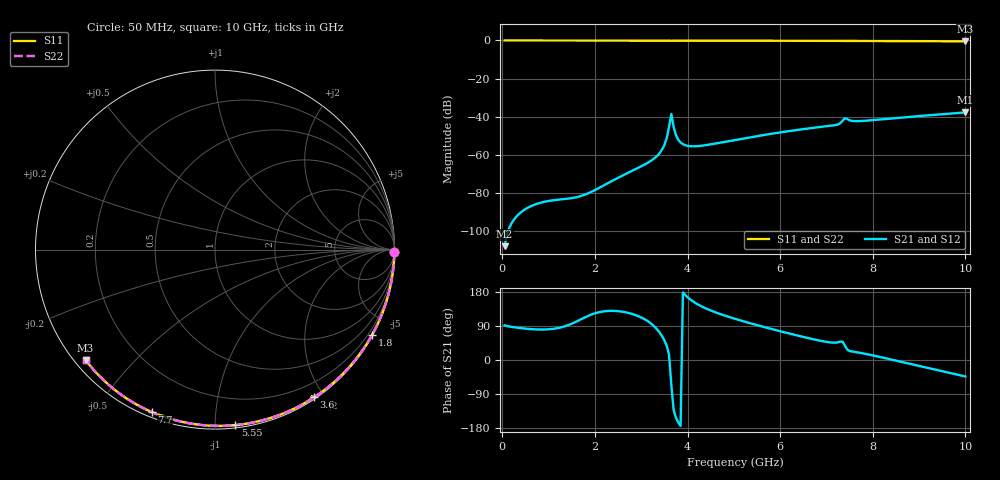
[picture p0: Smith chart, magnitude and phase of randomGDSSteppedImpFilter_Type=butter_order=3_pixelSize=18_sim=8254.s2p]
! freq	dB(S11)	phase(S11)	dB(S12)	phase(S12)
!  dB(S21)	phase(S21)	dB(S22)	phase(S22)
!S-par simulation data
#  GHz  S  DB  R 50
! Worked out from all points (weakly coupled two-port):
!   200 points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, 50 MHz to 10 GHz, reference 50 ohm
!   highest |S21| = -37.81 dB at 10 GHz (marker M1); lowest = -108.0 dB at 50 MHz (marker M2)
!   lowest |S11| = -0.5 dB at 10 GHz (marker M3), VSWR 37.02, Z = 1.53 - j18.4 ohm
!   |S11| at or under -10 dB: nowhere
!   |S22| runs from -0.5 to 0.0 dB; largest |S21 - S12| = 0
!   S11 on the Smith chart (normalised r, x): 50 MHz: open; 1.8 GHz: 0.03, -3.92; 3.6 GHz: 0.03, -1.87; 5.55 GHz: 0.02, -1.12; 7.7 GHz: 0.02, -0.68; 10 GHz: 0.03, -0.37
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0.05  -0.00 -0.8  -108.01 91.5  -108.01 91.5  -0.00 -0.8
1.75  -0.04 -27.9  -81.25 110.5  -81.25 110.5  -0.04 -27.9
1.8  -0.04 -28.7  -80.79 113.4  -80.79 113.4  -0.04 -28.6
1.95  -0.04 -31.0  -79.17 121.0  -79.17 121.0  -0.04 -31.0
3.1  -0.06 -48.6  -64.81 105.7  -64.81 105.7  -0.06 -48.6
3.4  -0.07 -53.1  -59.13 72.1  -59.13 72.1  -0.07 -53.1
3.5  -0.08 -54.6  -54.86 51.9  -54.86 51.9  -0.08 -54.6
3.55  -0.08 -55.4  -51.32 37.8  -51.32 37.8  -0.08 -55.4
3.6  -0.10 -56.2  -45.50 14.3  -45.50 14.3  -0.10 -56.2
3.65  -0.19 -56.6  -38.62 -65.9  -38.62 -65.9  -0.19 -56.6
3.7  -0.10 -57.1  -45.44 -132.1  -45.44 -132.1  -0.10 -57.1
3.75  -0.09 -58.0  -49.77 -152.3  -49.77 -152.3  -0.09 -58.0
3.8  -0.08 -58.7  -52.17 -164.7  -52.17 -164.7  -0.08 -58.7
4  -0.09 -61.7  -55.35 165.7  -55.35 165.7  -0.09 -61.7
5.05  -0.12 -76.6  -52.14 107.7  -52.14 107.7  -0.12 -76.6
5.55  -0.14 -83.4  -50.02 90.4  -50.02 90.4  -0.14 -83.4
6.7  -0.19 -98.6  -45.92 55.2  -45.92 55.2  -0.19 -98.6
7.25  -0.23 -105.7  -44.07 46.7  -44.07 46.7  -0.23 -105.7
7.4  -0.26 -107.5  -40.79 37.4  -40.79 37.4  -0.26 -107.5
7.7  -0.25 -111.3  -42.36 19.6  -42.36 19.6  -0.25 -111.3
8.35  -0.30 -119.4  -41.09 2.6  -41.09 2.6  -0.30 -119.4
10  -0.47 -139.6  -37.81 -43.5  -37.81 -43.5  -0.47 -139.6
